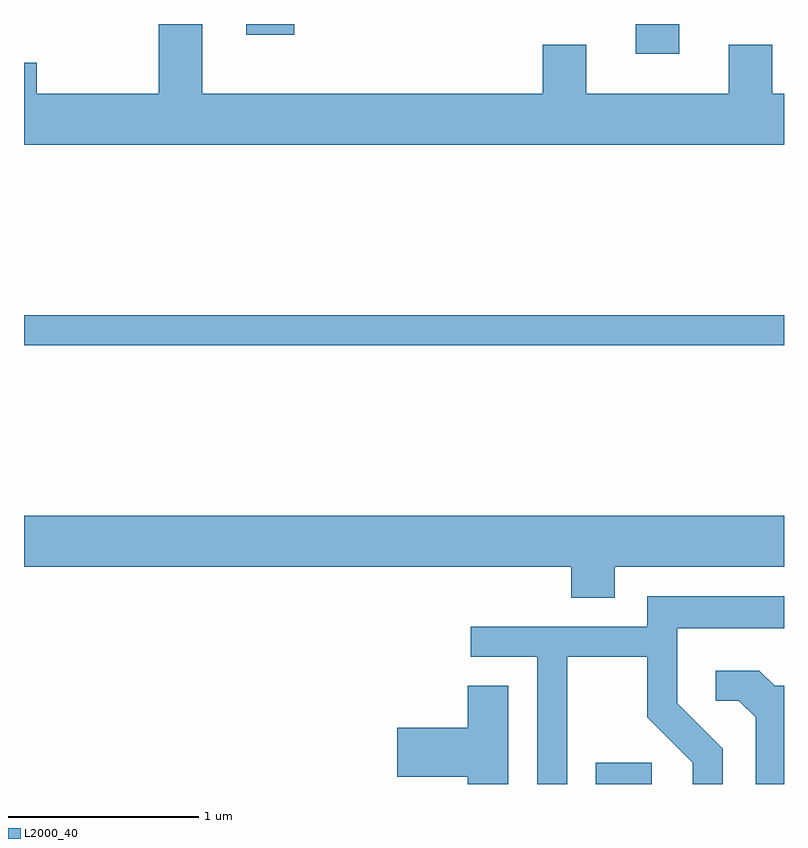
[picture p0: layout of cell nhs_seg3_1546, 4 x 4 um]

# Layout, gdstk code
import gdstk
lib = gdstk.Library(unit=1e-6, precision=1e-09)
def R(c, l, rs):  # rectangles x0, y0, x1, y1
    for r in rs: c.add(gdstk.rectangle(r[:2], r[2:], *l))
def P(c, l, *ps):  # polygons
    for p in ps: c.add(gdstk.Polygon(p, *l))
L2000_40 = (2000, 40)

nhs_seg3_1546 = lib.new_cell('nhs_seg3_1546')
R(nhs_seg3_1546, L2000_40, [(232.621,1215.892,232.914,1216.004), (229.611,1218.201,233.611,1218.359), (232.831,1219.736,233.059,1219.892), (230.781,1219.836,231.034,1219.892)])
P(nhs_seg3_1546, L2000_40, [(233.611,1219.524),(233.549,1219.524),(233.549,1219.784),(233.321,1219.784),(233.321,1219.524),(232.569,1219.524),(232.569,1219.784),(232.341,1219.784),(232.341,1219.524),(230.549,1219.524),(230.549,1219.892),(230.321,1219.892),(230.321,1219.524),(229.679,1219.524),(229.679,1219.689),(229.611,1219.689),(229.611,1219.256),(233.611,1219.256)],
  [(232.719,1217.036),(233.611,1217.036),(233.611,1217.304),(229.611,1217.304),(229.611,1217.036),(232.491,1217.036),(232.491,1216.871),(232.719,1216.871)],
  [(232.469,1216.561),(232.891,1216.561),(232.891,1216.244),(233.131,1216.004),(233.131,1215.892),(233.289,1215.892),(233.289,1216.077),(233.049,1216.317),(233.049,1216.711),(233.611,1216.711),(233.611,1216.879),(232.891,1216.879),(232.891,1216.719),(231.963,1216.719),(231.963,1216.561),(232.311,1216.561),(232.311,1215.892),(232.469,1215.892)],
  [(233.611,1216.409),(233.562,1216.409),(233.482,1216.489),(233.253,1216.489),(233.253,1216.331),(233.374,1216.331),(233.461,1216.244),(233.461,1215.892),(233.611,1215.892)],
  [(232.159,1216.409),(231.946,1216.409),(231.946,1216.189),(231.576,1216.189),(231.576,1215.931),(231.946,1215.931),(231.946,1215.892),(232.159,1215.892)])

lib.write_gds('nhs_seg3_1546.gds')
